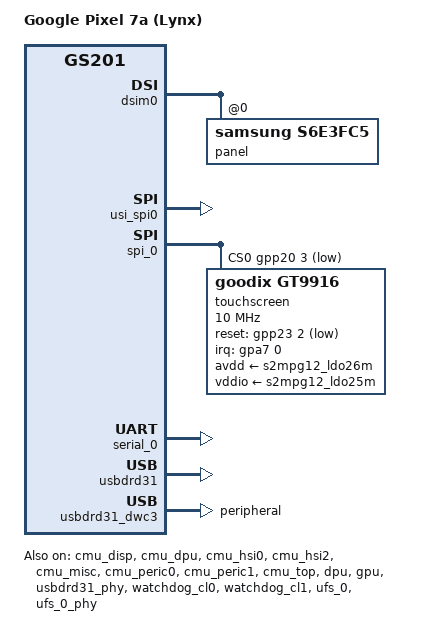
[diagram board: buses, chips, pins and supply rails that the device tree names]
// SPDX-License-Identifier: GPL-2.0-only
/*
 * Lynx (Pixel 7a) Device Tree
 *
 * Copyright 2022-2026 Google LLC
 */

/dts-v1/;

#include <dt-bindings/gpio/gpio.h>
#include <dt-bindings/interrupt-controller/irq.h>
#include <dt-bindings/regulator/samsung,s2mpg12-regulator.h>

#include "gs201.dtsi"

/ {
	model = "Google Pixel 7a (Lynx)";
	compatible = "google,gs201-lynx", "google,gs201";

	chosen {
		#address-cells = <2>;
		#size-cells = <1>;
		ranges;

		stdout-path = "serial0:115200n8";

		/* Use display framebuffer as setup by bootloader */
		framebuffer0: framebuffer-0 {
			compatible = "simple-framebuffer";
			memory-region = <&cont_splash_mem>;
			width = <1080>;
			height = <2400>;
			stride = <(1080 * 4)>;
			format = "a8r8g8b8";
		};
	};

	reserved-memory {
		cont_splash_mem: splash@fac00000 {
			reg = <0x0 0xfac00000 (1080 * 2400 * 4)>;
			no-map;
		};
	};
};

/* Bring-up: peripherals not listed here keep the bootloader's clock state. */
&acpm_ipc {
	pmic-1 {
		compatible = "samsung,s2mpg12-pmic";
		interrupts-extended = <&gpa0 6 IRQ_TYPE_LEVEL_LOW>;
		pinctrl-names = "default";
		pinctrl-0 = <&pmic_int>;
		wakeup-source;

		/*
		 * Only the rails with a consumer are described; all other
		 * rails stay as the bootloader left them.
		 */
		regulators {
			/* HSI0 IO rail; the controller hangs without it */
			s2mpg12_ldo7m: ldo7m {
				regulator-name = "vdd_hsi";
				regulator-min-microvolt = <450000>;
				regulator-max-microvolt = <950000>;
				regulator-ramp-delay = <6250>;
				regulator-always-on;
			};

			/* USB PHY 0.85V (PLL, USB2 DVDD, USBDP VDDA) */
			s2mpg12_ldo8m: ldo8m {
				regulator-name = "vdd085_usb";
				regulator-min-microvolt = <725000>;
				regulator-max-microvolt = <1300000>;
				regulator-always-on;
			};

			/* USB PHY 1.8V (USB2 and USBDP VDDH) */
			s2mpg12_ldo9m: ldo9m {
				regulator-name = "vdd18_usb";
				regulator-min-microvolt = <1600000>;
				regulator-max-microvolt = <1950000>;
				regulator-always-on;
			};

			/* USB PHY 3.0V (USB2 VDD33) */
			s2mpg12_ldo10m: ldo10m {
				regulator-name = "vdd33_usb";
				regulator-min-microvolt = <1800000>;
				regulator-max-microvolt = <3350000>;
				regulator-always-on;
			};

			/* Touchscreen DVDD */
			s2mpg12_ldo25m: ldo25m {
				regulator-name = "ldo25m_ts_dvdd";
				regulator-min-microvolt = <1800000>;
				regulator-max-microvolt = <1800000>;
			};

			/* Touchscreen AVDD */
			s2mpg12_ldo26m: ldo26m {
				regulator-name = "ldo26m_ts_avdd";
				regulator-min-microvolt = <3000000>;
				regulator-max-microvolt = <3000000>;
			};
		};
	};
};

&cmu_disp {
	status = "okay";
};

&cmu_dpu {
	status = "okay";
};

&cmu_hsi0 {
	status = "okay";
};

&cmu_hsi2 {
	status = "okay";
};

&cmu_misc {
	status = "okay";
};

&cmu_peric0 {
	status = "okay";
};

&cmu_peric1 {
	status = "okay";
};

&cmu_top {
	status = "okay";
};

&dpu {
	status = "okay";
};

&dsim0 {
	status = "okay";

	panel@0 {
		compatible = "samsung,s6e3fc5";
		reg = <0>;
	};
};

&usi_spi0 {
	status = "okay";
};

&spi_0 {
	cs-gpios = <&gpp20 3 GPIO_ACTIVE_LOW>;
	status = "okay";

	touchscreen@0 {
		compatible = "goodix,gt9916";
		reg = <0>;
		spi-max-frequency = <10000000>;
		interrupt-parent = <&gpa7>;
		interrupts = <0 IRQ_TYPE_EDGE_FALLING>;
		reset-gpios = <&gpp23 2 GPIO_ACTIVE_LOW>;
		avdd-supply = <&s2mpg12_ldo26m>;
		vddio-supply = <&s2mpg12_ldo25m>;
		pinctrl-0 = <&ts_irq &ts_reset>;
		pinctrl-names = "default";
		touchscreen-size-x = <1080>;
		touchscreen-size-y = <2400>;
	};
};

&gpu {
	status = "okay";
};

&serial_0 {
	status = "okay";
};

&usbdrd31 {
	vdd10-supply = <&s2mpg12_ldo7m>;
	vdd33-supply = <&s2mpg12_ldo10m>;

	status = "okay";
};

&usbdrd31_dwc3 {
	dr_mode = "peripheral";
	maximum-speed = "high-speed";

	status = "okay";
};

&usbdrd31_phy {
	pll-supply = <&s2mpg12_ldo8m>;
	dvdd-usb20-supply = <&s2mpg12_ldo8m>;
	vddh-usb20-supply = <&s2mpg12_ldo9m>;
	vdd33-usb20-supply = <&s2mpg12_ldo10m>;
	vdda-usbdp-supply = <&s2mpg12_ldo8m>;
	vddh-usbdp-supply = <&s2mpg12_ldo9m>;

	status = "okay";
};

&watchdog_cl0 {
	status = "okay";
};

&watchdog_cl1 {
	status = "okay";
};

&ufs_0 {
	status = "okay";
};

&ufs_0_phy {
	status = "okay";
};

/* TEMP-DEBUG T1: glue enabled, child without ref clock / phys */
&usbdrd31_dwc3 {
	/delete-property/ clocks;
	/delete-property/ clock-names;
	/delete-property/ phys;
	/delete-property/ phy-names;
};
